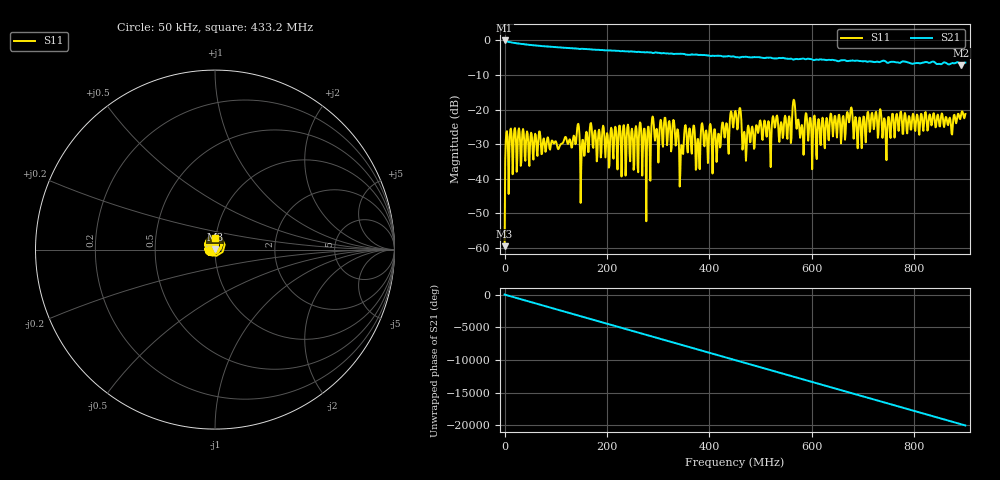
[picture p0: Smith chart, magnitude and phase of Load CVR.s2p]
! NanoVNA-App
! Date: 2026-10-30 13:27:35
! Start: 50kHz Stop: 900MHz Points: 801
! S-Parameter data: F S11 S21 S12 S22
# Hz S RI R 50
!  Frequency  S11_Real  S11_Imag  S21_Real  S21_Imag  S12_Real  S12_Imag  S22_Real  S22_Imag
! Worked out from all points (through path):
!   801 points, 50 kHz to 900 MHz, reference 50 ohm
!   highest |S21| = -0.04 dB at 50 kHz (marker M1); lowest = -7.1 dB at 892.1 MHz (marker M2)
!   group delay of S21, straight-line fit = 61.7 ns
!   lowest |S11| = -59.5 dB at 50 kHz (marker M3), VSWR 1.00, Z = 50 + j0.103 ohm
!   |S11| at or under -10 dB: start of sweep to end of sweep
!   S12 and S22 are empty: the file has one direction only
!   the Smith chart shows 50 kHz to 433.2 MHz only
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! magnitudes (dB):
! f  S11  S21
! 50 kHz  -59.5  0.0
! 5.675 MHz  -27.8  -0.4
! 15.8 MHz  -38.7  -0.7
! 141.8 MHz  -25.4  -2.4
! 150.8 MHz  -30.8  -2.5
! 171 MHz  -27.3  -2.7
! 273.4 MHz  -25.6  -3.5
! 300.4 MHz  -35.3  -3.6
! 345.4 MHz  -30.3  -3.9
! 365.7 MHz  -32.7  -4.1
! 378 MHz  -28.5  -4.2
! 388.2 MHz  -27.1  -4.3
! 417.4 MHz  -27.0  -4.5
! 450 MHz  -20.5  -4.8
! 469.1 MHz  -27.4  -4.8
! 565.9 MHz  -17.5  -5.5
! 580.5 MHz  -24.5  -5.3
! 600.8 MHz  -37.2  -5.5
! 673.9 MHz  -23.0  -5.9
! 750.4 MHz  -22.2  -6.5
! 892.1 MHz  -21.1  -7.1
! 900 MHz  -21.3  -6.5
